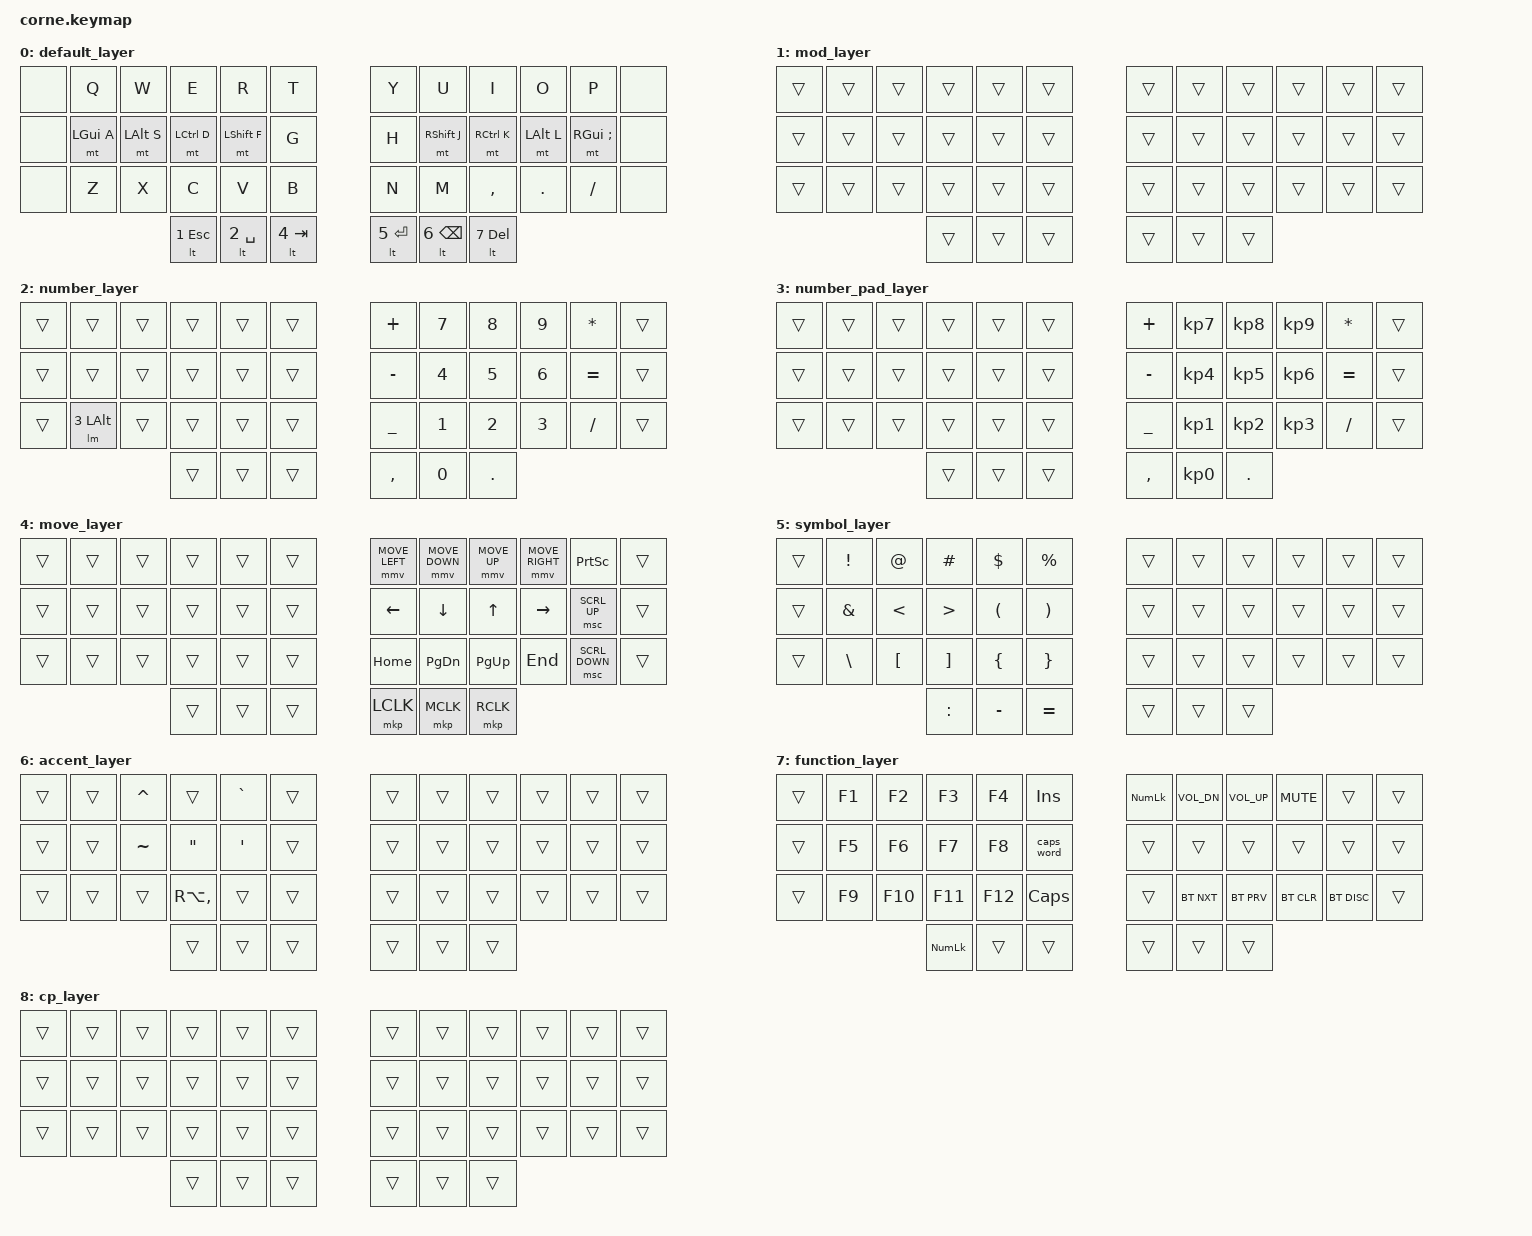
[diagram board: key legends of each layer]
/*
 * Copyright (c) 2020 The ZMK Contributors
 *
 * SPDX-License-Identifier: MIT
 */

#include <behaviors.dtsi>
#include <dt-bindings/zmk/keys.h>
#include <dt-bindings/zmk/bt.h>
#include <dt-bindings/zmk/pointing.h>

#define HRA &mt LGUI A
#define HRS &mt LALT S
#define HRD &mt LCTRL D
#define HRF &mt LSHIFT F
#define HRJ &mt RSHIFT J
#define HRK &mt RCTRL K
#define HRL &mt LALT L
#define HRSC &mt RGUI SEMI

#define LMO &lt 1 ESC
#define LNU &lt 2 SPACE
#define LNP &lm 3 LALT
#define LMV &lt 4 TAB
#define LSY &lt 5 RET
#define LAC &lt 6 BSPC
#define LFN &lt 7 DEL

#define KCEDIL &kp RA(COMMA)

#define MLEFT &mmv MOVE_LEFT
#define MDOWN &mmv MOVE_DOWN
#define MUP &mmv MOVE_UP
#define MRIGHT &mmv MOVE_RIGHT
#define MSDOWN &msc SCRL_DOWN
#define MSUP &msc SCRL_UP

#define SDOWN &kp C_VOL_DN
#define SUP &kp C_VOL_UP
#define SMUTE &kp C_MUTE


/ {
    combos {
        compatible = "zmk,combos";
        combo_caps {
            timeout-ms = <50>;
            key-positions = <16 19>;
            bindings = <&caps_word>;
        };
        combo_esc {
            timeout-ms = <50>;
            key-positions = <19 20>;
            bindings = <&kp ESC>;
        };
    };
    behaviors {
        mt: mod_tap {
            compatible = "zmk,behavior-hold-tap";
            flavor = "balanced";
            quick-tap-ms = <200>;
        };
        lt: layer_tap {
            compatible = "zmk,behavior-hold-tap";
            quick-tap-ms = <200>;
        };
        lm: lm {
            compatible = "zmk,behavior-macro-two-param";
            wait-ms = <0>;
            tap-ms = <0>;
            #binding-cells = <2>;
            bindings
                = <&macro_param_1to1>
                , <&macro_press &mo MACRO_PLACEHOLDER>
                , <&macro_param_2to1>
                , <&macro_press &kp MACRO_PLACEHOLDER>
                , <&macro_pause_for_release>
                , <&macro_param_2to1>
                , <&macro_release &kp MACRO_PLACEHOLDER>
                , <&macro_param_1to1>
                , <&macro_release &mo MACRO_PLACEHOLDER>
                ;
        };
    };
    keymap {
        compatible = "zmk,keymap";

        default_layer {
            bindings = <
   &none &kp Q      &kp W       &kp E       &kp R       &kp T       &kp Y       &kp U       &kp I       &kp O       &kp P       &none
   &none HRA        HRS         HRD         HRF         &kp G       &kp H       HRJ         HRK         HRL         HRSC        &none
   &none &kp Z      &kp X       &kp C       &kp V       &kp B       &kp N       &kp M       &kp COMMA   &kp DOT     &kp FSLH    &none
                                LMO         LNU         LMV         LSY         LAC         LFN
            >;
        };
        mod_layer {
            bindings = <
   &trans &trans    &trans     &trans       &trans      &trans      &trans      &trans      &trans      &trans      &trans      &trans
   &trans &trans    &trans     &trans       &trans      &trans      &trans      &trans      &trans      &trans      &trans      &trans
   &trans &trans    &trans     &trans       &trans      &trans      &trans      &trans      &trans      &trans      &trans      &trans
                               &trans       &trans      &trans      &trans      &trans      &trans
            >;
        };
        number_layer {
            bindings = <
   &trans &trans    &trans     &trans       &trans      &trans      &kp PLUS    &kp N7      &kp N8      &kp N9      &kp STAR    &trans
   &trans &trans    &trans     &trans       &trans      &trans      &kp MINUS   &kp N4      &kp N5      &kp N6      &kp EQUAL   &trans
   &trans LNP       &trans     &trans       &trans      &trans      &kp UNDER   &kp N1      &kp N2      &kp N3      &kp SLASH   &trans
                               &trans       &trans      &trans      &kp COMMA   &kp N0      &kp DOT
            >;
        };
        number_pad_layer {
            bindings = <
   &trans &trans    &trans     &trans       &trans      &trans      &kp PLUS    &kp KP_N7   &kp KP_N8   &kp KP_N9   &kp STAR    &trans
   &trans &trans    &trans     &trans       &trans      &trans      &kp MINUS   &kp KP_N4   &kp KP_N5   &kp KP_N6   &kp EQUAL   &trans
   &trans &trans    &trans     &trans       &trans      &trans      &kp UNDER   &kp KP_N1   &kp KP_N2   &kp KP_N3   &kp SLASH   &trans
                               &trans       &trans      &trans      &kp COMMA   &kp KP_N0   &kp DOT
            >;
        };
        move_layer {
            bindings = <
   &trans &trans    &trans     &trans       &trans      &trans      MLEFT       MDOWN       MUP         MRIGHT      &kp PSCRN  &trans
   &trans &trans    &trans     &trans       &trans      &trans      &kp LEFT    &kp DOWN    &kp UP      &kp RIGHT   MSUP       &trans
   &trans &trans    &trans     &trans       &trans      &trans      &kp HOME    &kp PG_DN   &kp PG_UP   &kp END     MSDOWN     &trans
                               &trans       &trans      &trans      &mkp LCLK   &mkp MCLK   &mkp RCLK
            >;
        };
        symbol_layer {
            bindings = <
   &trans &kp EXCL  &kp AT     &kp HASH     &kp DLLR    &kp PRCNT   &trans      &trans      &trans      &trans      &trans      &trans
   &trans &kp AMPS  &kp LT     &kp GT       &kp LPAR    &kp RPAR    &trans      &trans      &trans      &trans      &trans      &trans
   &trans &kp BSLH  &kp LBKT   &kp RBKT     &kp LBRC    &kp RBRC    &trans      &trans      &trans      &trans      &trans      &trans
                               &kp COLON    &kp MINUS   &kp EQUAL   &trans      &trans      &trans
            >;
        };
        accent_layer {
            bindings = <
   &trans &trans    &kp CARET  &trans       &kp GRAVE   &trans      &trans      &trans      &trans      &trans      &trans      &trans
   &trans &trans    &kp TILDE  &kp DQT      &kp SQT     &trans      &trans      &trans      &trans      &trans      &trans      &trans
   &trans &trans    &trans     KCEDIL       &trans      &trans      &trans      &trans      &trans      &trans      &trans      &trans
                               &trans       &trans      &trans      &trans      &trans      &trans
            >;
        };
        function_layer {
            bindings = <
   &trans &kp F1    &kp F2     &kp F3       &kp F4      &kp INS     &kp KP_NUM  SDOWN       SUP         SMUTE       &trans      &trans
   &trans &kp F5    &kp F6     &kp F7       &kp F8      &caps_word  &trans      &trans      &trans      &trans      &trans      &trans
   &trans &kp F9    &kp F10    &kp F11      &kp F12     &kp CAPS    &trans      &bt BT_NXT  &bt BT_PRV  &bt BT_CLR  &bt BT_DISC &trans
                               &kp KP_NUM   &trans      &trans      &trans      &trans      &trans
            >;
        };
        cp_layer {
            bindings = <
   &trans &trans    &trans     &trans       &trans      &trans      &trans      &trans      &trans      &trans      &trans      &trans
   &trans &trans    &trans     &trans       &trans      &trans      &trans      &trans      &trans      &trans      &trans      &trans
   &trans &trans    &trans     &trans       &trans      &trans      &trans      &trans      &trans      &trans      &trans      &trans
                               &trans       &trans      &trans      &trans      &trans      &trans
            >;
        };
    };
};
